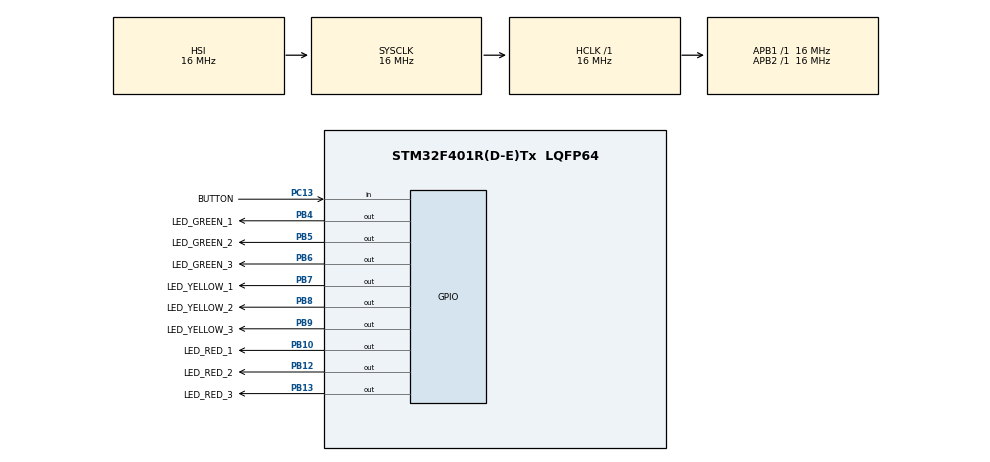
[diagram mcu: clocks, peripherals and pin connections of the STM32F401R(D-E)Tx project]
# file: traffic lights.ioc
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Mcu.Family=STM32F4
Mcu.Name=STM32F401R(D-E)Tx
Mcu.Package=LQFP64
NVIC.PriorityGroup=NVIC_PRIORITYGROUP_4
PB10.GPIO_Label=LED_RED_1
PB10.Signal=GPIO_Output
PB12.GPIO_Label=LED_RED_2
PB12.Signal=GPIO_Output
PB13.GPIO_Label=LED_RED_3
PB13.Signal=GPIO_Output
PB4.GPIO_Label=LED_GREEN_1
PB4.Signal=GPIO_Output
PB5.GPIO_Label=LED_GREEN_2
PB5.Signal=GPIO_Output
PB6.GPIO_Label=LED_GREEN_3
PB6.Signal=GPIO_Output
PB7.GPIO_Label=LED_YELLOW_1
PB7.Signal=GPIO_Output
PB8.GPIO_Label=LED_YELLOW_2
PB8.Signal=GPIO_Output
PB9.GPIO_Label=LED_YELLOW_3
PB9.Signal=GPIO_Output
PC13-ANTI_TAMP.GPIO_Label=BUTTON
PC13-ANTI_TAMP.Signal=GPIO_Input
ProjectManager.HeapSize=0x200
ProjectManager.StackSize=0x400
ProjectManager.TargetToolchain=STM32CubeIDE
RCC.AHBFreq_Value=16000000
RCC.APB1Freq_Value=16000000
RCC.APB2Freq_Value=16000000
RCC.CortexFreq_Value=16000000
RCC.HSE_VALUE=25000000
RCC.HSI_VALUE=16000000
RCC.LSE_VALUE=32768
RCC.SYSCLKFreq_VALUE=16000000
RCC.VCOOutputFreq_Value=192000000
board=custom

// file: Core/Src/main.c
/* USER CODE BEGIN Header */
/**
  ******************************************************************************
  * @file           : main.c
  * @brief          : Main program body
  ******************************************************************************
  * @attention
  *
  * Copyright (c) 2023 STMicroelectronics.
  * All rights reserved.
  *
  * This software is licensed under terms that can be found in the LICENSE file
  * in the root directory of this software component.
  * If no LICENSE file comes with this software, it is provided AS-IS.
  *
  ******************************************************************************
  */
/* USER CODE END Header */
#include "main.h"

/* USER CODE BEGIN Includes */
#include <stdio.h>
/* USER CODE END Includes */

void SystemClock_Config(void);
static void MX_GPIO_Init(void);

/* USER CODE BEGIN 0 */
void zielona(int stan)
{

	if(stan==1){
	for(int i=0; i<10;i++){
		HAL_GPIO_WritePin(LED_GREEN_1_GPIO_Port, LED_GREEN_1_Pin, GPIO_PIN_SET);
		HAL_Delay(100);
		HAL_GPIO_WritePin(LED_GREEN_1_GPIO_Port, LED_GREEN_1_Pin, GPIO_PIN_RESET);
		HAL_GPIO_WritePin(LED_GREEN_2_GPIO_Port, LED_GREEN_2_Pin, GPIO_PIN_SET);
		HAL_Delay(100);
		HAL_GPIO_WritePin(LED_GREEN_2_GPIO_Port, LED_GREEN_2_Pin, GPIO_PIN_RESET);
		HAL_GPIO_WritePin(LED_GREEN_3_GPIO_Port, LED_GREEN_3_Pin, GPIO_PIN_SET);
		HAL_Delay(100);
		HAL_GPIO_WritePin(LED_GREEN_3_GPIO_Port, LED_GREEN_3_Pin, GPIO_PIN_RESET);
	}
	HAL_GPIO_WritePin(LED_GREEN_1_GPIO_Port, LED_GREEN_1_Pin, GPIO_PIN_SET);
	HAL_GPIO_WritePin(LED_GREEN_2_GPIO_Port, LED_GREEN_2_Pin, GPIO_PIN_SET);
	HAL_GPIO_WritePin(LED_GREEN_2_GPIO_Port, LED_GREEN_3_Pin, GPIO_PIN_SET);
	HAL_Delay(1300);
		HAL_GPIO_WritePin(LED_GREEN_1_GPIO_Port, LED_GREEN_1_Pin, GPIO_PIN_RESET);
		HAL_GPIO_WritePin(LED_GREEN_2_GPIO_Port, LED_GREEN_2_Pin, GPIO_PIN_RESET);
		HAL_GPIO_WritePin(LED_GREEN_2_GPIO_Port, LED_GREEN_3_Pin, GPIO_PIN_RESET);
	}
	else
	{HAL_GPIO_WritePin(LED_GREEN_1_GPIO_Port, LED_GREEN_1_Pin, GPIO_PIN_RESET);
	HAL_GPIO_WritePin(LED_GREEN_2_GPIO_Port, LED_GREEN_2_Pin, GPIO_PIN_RESET);
	HAL_GPIO_WritePin(LED_GREEN_2_GPIO_Port, LED_GREEN_3_Pin, GPIO_PIN_RESET);}
}
void zolta(int stan)
{

	if(stan==1){
	for(int i=0; i<10;i++){
		HAL_GPIO_WritePin(LED_YELLOW_1_GPIO_Port, LED_YELLOW_1_Pin, GPIO_PIN_SET);
		HAL_Delay(100);
		HAL_GPIO_WritePin(LED_YELLOW_1_GPIO_Port, LED_YELLOW_1_Pin, GPIO_PIN_RESET);
		HAL_GPIO_WritePin(LED_YELLOW_2_GPIO_Port, LED_YELLOW_2_Pin, GPIO_PIN_SET);
		HAL_Delay(100);
		HAL_GPIO_WritePin(LED_YELLOW_2_GPIO_Port, LED_YELLOW_2_Pin, GPIO_PIN_RESET);
		HAL_GPIO_WritePin(LED_YELLOW_3_GPIO_Port, LED_YELLOW_3_Pin, GPIO_PIN_SET);
		HAL_Delay(100);
		HAL_GPIO_WritePin(LED_YELLOW_3_GPIO_Port, LED_YELLOW_3_Pin, GPIO_PIN_RESET);
	}
	HAL_GPIO_WritePin(LED_YELLOW_1_GPIO_Port, LED_YELLOW_1_Pin, GPIO_PIN_SET);
	HAL_GPIO_WritePin(LED_YELLOW_2_GPIO_Port, LED_YELLOW_2_Pin, GPIO_PIN_SET);
	HAL_GPIO_WritePin(LED_YELLOW_2_GPIO_Port, LED_YELLOW_3_Pin, GPIO_PIN_SET);
	HAL_Delay(1300);
		HAL_GPIO_WritePin(LED_YELLOW_1_GPIO_Port, LED_YELLOW_1_Pin, GPIO_PIN_RESET);
		HAL_GPIO_WritePin(LED_YELLOW_2_GPIO_Port, LED_YELLOW_2_Pin, GPIO_PIN_RESET);
		HAL_GPIO_WritePin(LED_YELLOW_2_GPIO_Port, LED_YELLOW_3_Pin, GPIO_PIN_RESET);
	}
	else
	{HAL_GPIO_WritePin(LED_YELLOW_1_GPIO_Port, LED_YELLOW_1_Pin, GPIO_PIN_RESET);
	HAL_GPIO_WritePin(LED_YELLOW_2_GPIO_Port, LED_YELLOW_2_Pin, GPIO_PIN_RESET);
	HAL_GPIO_WritePin(LED_YELLOW_2_GPIO_Port, LED_YELLOW_3_Pin, GPIO_PIN_RESET);}
}
void czerwona(int stan)
{

	if(stan==1){
	for(int i=0; i<10;i++){
		HAL_GPIO_WritePin(LED_RED_1_GPIO_Port, LED_RED_1_Pin, GPIO_PIN_SET);
		HAL_Delay(100);
		HAL_GPIO_WritePin(LED_RED_1_GPIO_Port, LED_RED_1_Pin, GPIO_PIN_RESET);
		HAL_GPIO_WritePin(LED_RED_2_GPIO_Port, LED_RED_2_Pin, GPIO_PIN_SET);
		HAL_Delay(100);
		HAL_GPIO_WritePin(LED_RED_2_GPIO_Port, LED_RED_2_Pin, GPIO_PIN_RESET);
		HAL_GPIO_WritePin(LED_RED_3_GPIO_Port, LED_RED_3_Pin, GPIO_PIN_SET);
		HAL_Delay(100);
		HAL_GPIO_WritePin(LED_RED_3_GPIO_Port, LED_RED_3_Pin, GPIO_PIN_RESET);
	}
	HAL_GPIO_WritePin(LED_RED_1_GPIO_Port, LED_RED_1_Pin, GPIO_PIN_SET);
	HAL_GPIO_WritePin(LED_RED_2_GPIO_Port, LED_RED_2_Pin, GPIO_PIN_SET);
	HAL_GPIO_WritePin(LED_RED_2_GPIO_Port, LED_RED_3_Pin, GPIO_PIN_SET);
	HAL_Delay(1300);
		HAL_GPIO_WritePin(LED_RED_1_GPIO_Port, LED_RED_1_Pin, GPIO_PIN_RESET);
		HAL_GPIO_WritePin(LED_RED_2_GPIO_Port, LED_RED_2_Pin, GPIO_PIN_RESET);
		HAL_GPIO_WritePin(LED_RED_2_GPIO_Port, LED_RED_3_Pin, GPIO_PIN_RESET);
	}
	else
	{HAL_GPIO_WritePin(LED_RED_1_GPIO_Port, LED_RED_1_Pin, GPIO_PIN_RESET);
	HAL_GPIO_WritePin(LED_RED_2_GPIO_Port, LED_RED_2_Pin, GPIO_PIN_RESET);
	HAL_GPIO_WritePin(LED_RED_2_GPIO_Port, LED_RED_3_Pin, GPIO_PIN_RESET);}
}
/* USER CODE END 0 */

int main(void)
{
  /* USER CODE BEGIN 1 */
	int stan_czerwona;
	int stan_zielona;
	int stan_zolta;
  /* USER CODE END 1 */

  /* MCU Configuration--------------------------------------------------------*/

  /* Reset of all peripherals, Initializes the Flash interface and the Systick. */
  HAL_Init();

  /* Configure the system clock */
  SystemClock_Config();

  /* Initialize all configured peripherals */
  MX_GPIO_Init();

  /* Infinite loop */
  /* USER CODE BEGIN WHILE */
  while (1)
  {
	  if (HAL_GPIO_ReadPin(BUTTON_GPIO_Port, BUTTON_Pin) == GPIO_PIN_RESET){
		  	 stan_czerwona=0;
		  	 stan_zielona=0;
		  	 stan_zolta=0;
		  	 	 	 	 czerwona(stan_czerwona);
		  		   	   zolta(stan_zolta);
		  		   	   zielona(stan_zielona);
		  		   	stan_zolta=1;
		  		zolta(stan_zolta);
		  		zolta(stan_zolta);
		  		stan_zolta=0;
		  		zolta(stan_zolta);

	  	  }else{
	 stan_czerwona=0;
	 stan_zielona=0;
	 stan_zolta=0;
	   	   czerwona(stan_czerwona);
	   	   zolta(stan_zolta);
	   	   zielona(stan_zielona);
	  stan_czerwona=1;
	   	   czerwona(stan_czerwona);
	  stan_czerwona=0;
	  	  czerwona(stan_czerwona);
	  stan_zolta=1;
	  	  zolta(stan_zolta);
	  stan_zolta=0;
	  	  zolta(stan_zolta);
	  stan_zielona=1;
	  	  zielona(stan_zielona);
	  	HAL_Delay(1000);
	  stan_zielona=0;
	  	  zielona(stan_zielona);
	  	 }
    /* USER CODE END WHILE */

  }
}

void SystemClock_Config(void)
{
  RCC_OscInitTypeDef RCC_OscInitStruct = {0};
  RCC_ClkInitTypeDef RCC_ClkInitStruct = {0};

  /** Configure the main internal regulator output voltage
  */
  __HAL_RCC_PWR_CLK_ENABLE();
  __HAL_PWR_VOLTAGESCALING_CONFIG(PWR_REGULATOR_VOLTAGE_SCALE2);
  /** Initializes the RCC Oscillators according to the specified parameters
  * in the RCC_OscInitTypeDef structure.
  */
  RCC_OscInitStruct.OscillatorType = RCC_OSCILLATORTYPE_HSI;
  RCC_OscInitStruct.HSIState = RCC_HSI_ON;
  RCC_OscInitStruct.HSICalibrationValue = RCC_HSICALIBRATION_DEFAULT;
  RCC_OscInitStruct.PLL.PLLState = RCC_PLL_NONE;
  if (HAL_RCC_OscConfig(&RCC_OscInitStruct) != HAL_OK)
  {
    Error_Handler();
  }
  /** Initializes the CPU, AHB and APB buses clocks
  */
  RCC_ClkInitStruct.ClockType = RCC_CLOCKTYPE_HCLK|RCC_CLOCKTYPE_SYSCLK
                              |RCC_CLOCKTYPE_PCLK1|RCC_CLOCKTYPE_PCLK2;
  RCC_ClkInitStruct.SYSCLKSource = RCC_SYSCLKSOURCE_HSI;
  RCC_ClkInitStruct.AHBCLKDivider = RCC_SYSCLK_DIV1;
  RCC_ClkInitStruct.APB1CLKDivider = RCC_HCLK_DIV1;
  RCC_ClkInitStruct.APB2CLKDivider = RCC_HCLK_DIV1;

  if (HAL_RCC_ClockConfig(&RCC_ClkInitStruct, FLASH_LATENCY_0) != HAL_OK)
  {
    Error_Handler();
  }
}

static void MX_GPIO_Init(void)
{
  GPIO_InitTypeDef GPIO_InitStruct = {0};

  /* GPIO Ports Clock Enable */
  __HAL_RCC_GPIOC_CLK_ENABLE();
  __HAL_RCC_GPIOB_CLK_ENABLE();

  /*Configure GPIO pin Output Level */
  HAL_GPIO_WritePin(GPIOB, LED_RED_1_Pin|LED_RED_2_Pin|LED_RED_3_Pin|LED_GREEN_1_Pin
                          |LED_GREEN_2_Pin|LED_GREEN_3_Pin|LED_YELLOW_1_Pin|LED_YELLOW_2_Pin
                          |LED_YELLOW_3_Pin, GPIO_PIN_RESET);

  /*Configure GPIO pin : BUTTON_Pin */
  GPIO_InitStruct.Pin = BUTTON_Pin;
  GPIO_InitStruct.Mode = GPIO_MODE_INPUT;
  GPIO_InitStruct.Pull = GPIO_NOPULL;
  HAL_GPIO_Init(BUTTON_GPIO_Port, &GPIO_InitStruct);

  /*Configure GPIO pins : LED_RED_1_Pin LED_RED_2_Pin LED_RED_3_Pin LED_GREEN_1_Pin
                           LED_GREEN_2_Pin LED_GREEN_3_Pin LED_YELLOW_1_Pin LED_YELLOW_2_Pin
                           LED_YELLOW_3_Pin */
  GPIO_InitStruct.Pin = LED_RED_1_Pin|LED_RED_2_Pin|LED_RED_3_Pin|LED_GREEN_1_Pin
                          |LED_GREEN_2_Pin|LED_GREEN_3_Pin|LED_YELLOW_1_Pin|LED_YELLOW_2_Pin
                          |LED_YELLOW_3_Pin;
  GPIO_InitStruct.Mode = GPIO_MODE_OUTPUT_PP;
  GPIO_InitStruct.Pull = GPIO_NOPULL;
  GPIO_InitStruct.Speed = GPIO_SPEED_FREQ_LOW;
  HAL_GPIO_Init(GPIOB, &GPIO_InitStruct);

}

void Error_Handler(void)
{
  __disable_irq();
  while (1)
  {
  }
}
